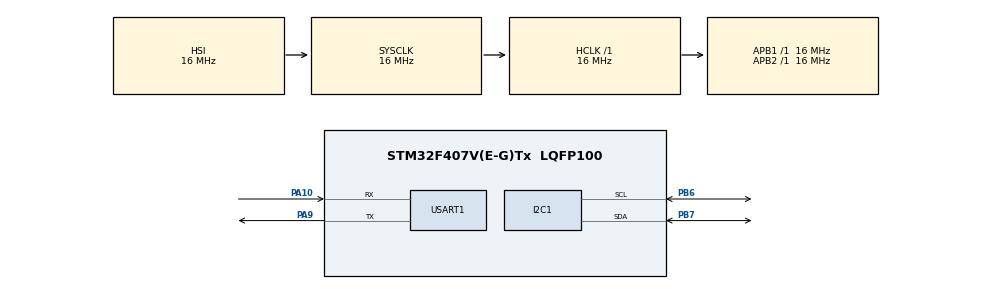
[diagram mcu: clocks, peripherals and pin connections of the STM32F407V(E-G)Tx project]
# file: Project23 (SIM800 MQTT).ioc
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Mcu.Family=STM32F4
Mcu.Name=STM32F407V(E-G)Tx
Mcu.Package=LQFP100
NVIC.PriorityGroup=NVIC_PRIORITYGROUP_4
NVIC.USART1_IRQn=true\:0\:0\:false\:false\:true\:true\:true\:true
PA10.Mode=Asynchronous
PA10.Signal=USART1_RX
PA9.Mode=Asynchronous
PA9.Signal=USART1_TX
PB6.Mode=I2C
PB6.Signal=I2C1_SCL
PB7.Mode=I2C
PB7.Signal=I2C1_SDA
ProjectManager.HeapSize=0x200
ProjectManager.StackSize=0x400
ProjectManager.TargetToolchain=MDK-ARM V5.32
RCC.AHBFreq_Value=16000000
RCC.APB1Freq_Value=16000000
RCC.APB2Freq_Value=16000000
RCC.CortexFreq_Value=16000000
RCC.HSE_VALUE=25000000
RCC.HSI_VALUE=16000000
RCC.LSE_VALUE=32768
RCC.SYSCLKFreq_VALUE=16000000
RCC.VCOOutputFreq_Value=192000000
USART1.VirtualMode=VM_ASYNC
board=custom

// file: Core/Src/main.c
/* USER CODE BEGIN Header */
/**
  ******************************************************************************
  * @file           : main.c
  * @brief          : Main program body
  ******************************************************************************
  * @attention
  *
  * Copyright (c) 2024 STMicroelectronics.
  * All rights reserved.
  *
  * This software is licensed under terms that can be found in the LICENSE file
  * in the root directory of this software component.
  * If no LICENSE file comes with this software, it is provided AS-IS.
  *
  ******************************************************************************
  */
/* USER CODE END Header */
#include "main.h"
#include "i2c.h"
#include "usart.h"
#include "gpio.h"

#include <stdio.h>
#include <stdlib.h>
#include "MQTTSim800.h"

//#include "BME280_STM32.h"

/* USER CODE BEGIN PV */
SIM800_t SIM800;

float Temperature, Pressure, Humidity;

HAL_StatusTypeDef sonuc;

/* USER CODE END PV */

void SystemClock_Config(void);

/* USER CODE BEGIN 0 */
void HAL_UART_RxCpltCallback(UART_HandleTypeDef * huart) {
    if (huart == UART_SIM800) {
        Sim800_RxCallBack();
    }
}
/* USER CODE END 0 */

int main(void)
{

  /* MCU Configuration--------------------------------------------------------*/

  /* Reset of all peripherals, Initializes the Flash interface and the Systick. */
  HAL_Init();

  /* Configure the system clock */
  SystemClock_Config();

  /* Initialize all configured peripherals */
  MX_GPIO_Init();
  MX_I2C1_Init();
  MX_USART1_UART_Init();
  /* USER CODE BEGIN 2 */

	//BME280_Config(OSRS_2, OSRS_16, OSRS_1, MODE_NORMAL, T_SB_0p5, IIR_16);

	SIM800.sim.apn = "internet";
  SIM800.sim.apn_user = "";
  SIM800.sim.apn_pass = "";

  SIM800.mqttServer.host = "mqtt.thingsboard.cloud";
  SIM800.mqttServer.port = 1883;

  SIM800.mqttClient.username = "n45u1x68kbtjiobf9hka";
  SIM800.mqttClient.pass = "kcd1p13nvy6ww93wnbl6";
  SIM800.mqttClient.clientID = "6f82w8td4hrf6zcx2wax";
  SIM800.mqttClient.keepAliveInterval = 60;

	MQTT_Init();

  /* USER CODE END 2 */

  /* Infinite loop */
  /* USER CODE BEGIN WHILE */
  while (1)
  {

		sonuc = HAL_UART_Transmit(&huart1, (uint8_t*)"AT", 2, 1000);

//		if (SIM800.mqttServer.connect == 0) {
//         MQTT_Init();
//    }
//    if (SIM800.mqttServer.connect == 1) {
//
//			//BME280_Measure();
//
//			char data[64];
//
//			sprintf(data, "{'temperature':%.2f, 'humidity': %.2f, 'pressure': %.2f}", 50.0, 75.88, 900.8);
//
//
//			MQTT_Pub("v1/devices/me/telemetry", data);

//			if(SIM800.mqttReceive.newEvent) {
//         unsigned char *topic = SIM800.mqttReceive.topic;
//         int payload = atoi((const char*)SIM800.mqttReceive.payload);
//         SIM800.mqttReceive.newEvent = 0;
//      }
//    }
    HAL_Delay(1000);
    /* USER CODE END WHILE */

  }
}

void SystemClock_Config(void)
{
  RCC_OscInitTypeDef RCC_OscInitStruct = {0};
  RCC_ClkInitTypeDef RCC_ClkInitStruct = {0};

  /** Configure the main internal regulator output voltage
  */
  __HAL_RCC_PWR_CLK_ENABLE();
  __HAL_PWR_VOLTAGESCALING_CONFIG(PWR_REGULATOR_VOLTAGE_SCALE1);

  /** Initializes the RCC Oscillators according to the specified parameters
  * in the RCC_OscInitTypeDef structure.
  */
  RCC_OscInitStruct.OscillatorType = RCC_OSCILLATORTYPE_HSI;
  RCC_OscInitStruct.HSIState = RCC_HSI_ON;
  RCC_OscInitStruct.HSICalibrationValue = RCC_HSICALIBRATION_DEFAULT;
  RCC_OscInitStruct.PLL.PLLState = RCC_PLL_NONE;
  if (HAL_RCC_OscConfig(&RCC_OscInitStruct) != HAL_OK)
  {
    Error_Handler();
  }

  /** Initializes the CPU, AHB and APB buses clocks
  */
  RCC_ClkInitStruct.ClockType = RCC_CLOCKTYPE_HCLK|RCC_CLOCKTYPE_SYSCLK
                              |RCC_CLOCKTYPE_PCLK1|RCC_CLOCKTYPE_PCLK2;
  RCC_ClkInitStruct.SYSCLKSource = RCC_SYSCLKSOURCE_HSI;
  RCC_ClkInitStruct.AHBCLKDivider = RCC_SYSCLK_DIV1;
  RCC_ClkInitStruct.APB1CLKDivider = RCC_HCLK_DIV1;
  RCC_ClkInitStruct.APB2CLKDivider = RCC_HCLK_DIV1;

  if (HAL_RCC_ClockConfig(&RCC_ClkInitStruct, FLASH_LATENCY_0) != HAL_OK)
  {
    Error_Handler();
  }
}

void Error_Handler(void)
{
  __disable_irq();
  while (1)
  {
  }
}
